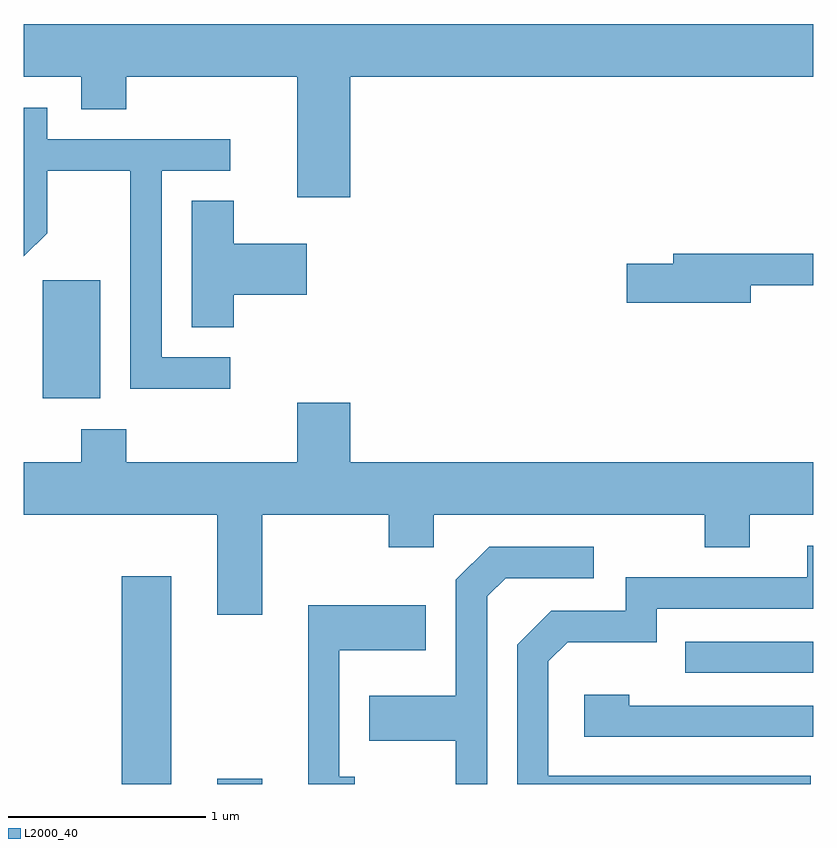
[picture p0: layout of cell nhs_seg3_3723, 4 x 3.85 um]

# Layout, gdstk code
import gdstk
lib = gdstk.Library(unit=1e-6, precision=1e-09)
def R(c, l, rs):  # rectangles x0, y0, x1, y1
    for r in rs: c.add(gdstk.rectangle(r[:2], r[2:], *l))
def P(c, l, *ps):  # polygons
    for p in ps: c.add(gdstk.Polygon(p, *l))
L2000_40 = (2000, 40)

nhs_seg3_3723 = lib.new_cell('nhs_seg3_3723')
R(nhs_seg3_3723, L2000_40, [(294.106,1217.892,294.359,1218.944), (294.591,1217.892,294.819,1217.919), (296.963,1218.456,297.611,1218.614), (293.706,1219.846,293.999,1220.444)])
P(nhs_seg3_3723, L2000_40, [(295.264,1221.476),(297.611,1221.476),(297.611,1221.744),(293.611,1221.744),(293.611,1221.476),(293.901,1221.476),(293.901,1221.311),(294.129,1221.311),(294.129,1221.476),(294.996,1221.476),(294.996,1220.866),(295.264,1220.866)],
  [(294.658,1220.054),(294.309,1220.054),(294.309,1221.001),(294.658,1221.001),(294.658,1221.159),(293.729,1221.159),(293.729,1221.319),(293.611,1221.319),(293.611,1220.566),(293.729,1220.684),(293.729,1221.001),(294.151,1221.001),(294.151,1219.896),(294.658,1219.896)],
  [(294.674,1220.371),(295.044,1220.371),(295.044,1220.629),(294.674,1220.629),(294.674,1220.849),(294.461,1220.849),(294.461,1220.206),(294.674,1220.206)],
  [(297.294,1220.421),(297.611,1220.421),(297.611,1220.579),(296.901,1220.579),(296.901,1220.529),(296.666,1220.529),(296.666,1220.331),(297.294,1220.331)],
  [(294.591,1218.751),(294.819,1218.751),(294.819,1219.256),(295.461,1219.256),(295.461,1219.091),(295.689,1219.091),(295.689,1219.256),(297.061,1219.256),(297.061,1219.091),(297.289,1219.091),(297.289,1219.256),(297.611,1219.256),(297.611,1219.524),(295.264,1219.524),(295.264,1219.824),(294.996,1219.824),(294.996,1219.524),(294.129,1219.524),(294.129,1219.689),(293.901,1219.689),(293.901,1219.524),(293.611,1219.524),(293.611,1219.256),(294.591,1219.256)],
  [(297.599,1217.934),(296.269,1217.934),(296.269,1218.514),(296.367,1218.611),(296.819,1218.611),(296.819,1218.781),(297.611,1218.781),(297.611,1219.099),(297.581,1219.099),(297.581,1218.939),(296.661,1218.939),(296.661,1218.769),(296.284,1218.769),(296.111,1218.597),(296.111,1217.892),(297.599,1217.892)],
  [(295.959,1218.844),(296.052,1218.936),(296.498,1218.936),(296.498,1219.094),(295.969,1219.094),(295.801,1218.927),(295.801,1218.339),(295.361,1218.339),(295.361,1218.111),(295.801,1218.111),(295.801,1217.892),(295.959,1217.892)],
  [(295.288,1217.929),(295.209,1217.929),(295.209,1218.571),(295.649,1218.571),(295.649,1218.799),(295.051,1218.799),(295.051,1217.892),(295.288,1217.892)],
  [(297.611,1218.289),(296.679,1218.289),(296.679,1218.344),(296.451,1218.344),(296.451,1218.131),(297.611,1218.131)])

lib.write_gds('nhs_seg3_3723.gds')
